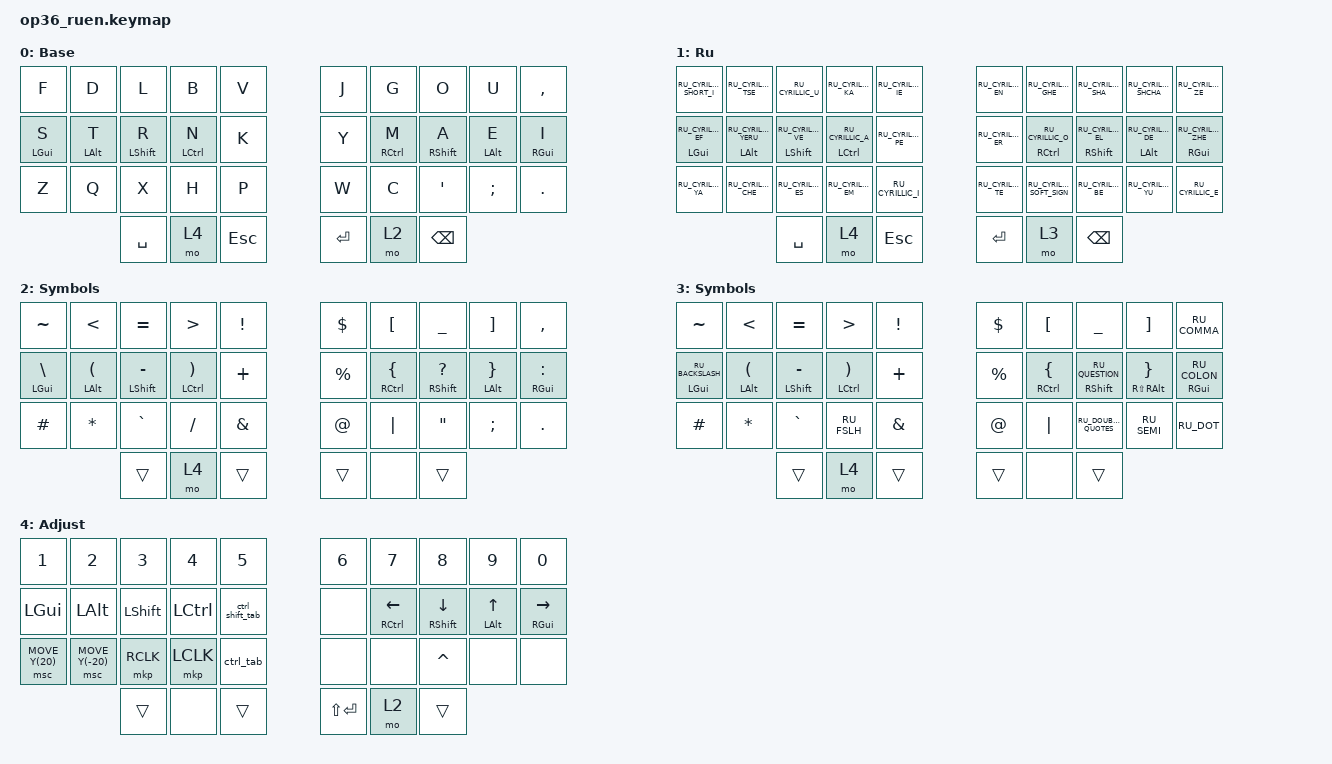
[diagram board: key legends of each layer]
#include "keys_ru.h"
#include "keys_ru.h"
#include <dt-bindings/zmk/reset.h>
#include <behaviors.dtsi>
#include <dt-bindings/zmk/keys.h>
#include <dt-bindings/zmk/pointing.h>

&mt {
    quick-tap-ms = <200>;
    flavor = "tap-preferred";
    require-prior-idle-ms = <125>;
};

/ {
    behaviors {
        hml: home_row_mod_left {
            compatible = "zmk,behavior-hold-tap";
            #binding-cells = <2>;
            flavor = "tap-preferred";
            tapping-term-ms = <250>;
            quick-tap-ms = <175>;
            bindings = <&kp>, <&kp>;

            hold-trigger-key-positions = <5 6 7 8 9 15 16 17 18 19 25 26 27 28 29 33 34 35>;
            hold-trigger-on-release;
            require-prior-idle-ms = <150>;
        };

        hmr: home_row_mod_right {
            compatible = "zmk,behavior-hold-tap";
            #binding-cells = <2>;
            flavor = "tap-preferred";
            tapping-term-ms = <250>;
            quick-tap-ms = <175>;
            bindings = <&kp>, <&kp>;

            hold-trigger-key-positions = <0 1 2 3 4 10 11 12 13 14 20 21 22 23 24 30 31 32>;
            hold-trigger-on-release;
            require-prior-idle-ms = <150>;
        };

        hmr_150_left: hmr_150_left {
            compatible = "zmk,behavior-hold-tap";
            #binding-cells = <2>;
            flavor = "tap-preferred";
            tapping-term-ms = <175>;
            quick-tap-ms = <175>;
            bindings = <&kp>, <&kp>;

            hold-trigger-key-positions = <5 6 7 8 9 15 16 17 18 19 25 26 27 28 29 33 34 35>;
            hold-trigger-on-release;
            label = "HMR_150_LEFT";
            require-prior-idle-ms = <5>;
        };

        hmr_150_right: hmr_150_right {
            compatible = "zmk,behavior-hold-tap";
            #binding-cells = <2>;
            flavor = "tap-preferred";
            tapping-term-ms = <175>;
            quick-tap-ms = <175>;
            bindings = <&kp>, <&kp>;

            hold-trigger-key-positions = <0 1 2 3 4 10 11 12 13 14 20 21 22 23 24 30 31 32>;
            hold-trigger-on-release;
            label = "HMR_150_RIGHT";
            require-prior-idle-ms = <5>;
        };
    };

    combos {
        compatible = "zmk,combos";

        kha {
            bindings = <&kp RU_CYRILLIC_HA>;
            key-positions = <6 7>;
            layers = <1>;
        };

        hrdsgn {
            bindings = <&kp RU_CYRILLIC_HARD_SIGN>;
            key-positions = <7 8>;
            layers = <1>;
        };

        cmben {
            bindings = <&layer_en>;
            key-positions = <27 26>;
            layers = <1>;
            require-prior-idle-ms = <20>;
        };

        cmbru {
            bindings = <&layer_ru>;
            key-positions = <26 27>;
            layers = <0>;
            require-prior-idle-ms = <20>;
        };

        ru_io {
            bindings = <&kp RU_CYRILLIC_IO>;
            key-positions = <3 4>;
            layers = <1>;
        };

        tab {
            bindings = <&kp TAB>;
            key-positions = <16 15>;
            layers = <1 0 2 3 4>;
            require-prior-idle-ms = <20>;
        };

        paste {
            bindings = <&kp LA(LC(NUMBER_9))>;
            key-positions = <22 23>;
            layers = <0 1 2 3 4>;
            require-prior-idle-ms = <20>;
        };

        copy {
            bindings = <&kp RC(RA(NUMBER_8))>;
            key-positions = <22 21>;
            require-prior-idle-ms = <20>;
            layers = <1 2 0 3 4>;
        };

        ca {
            bindings = <&kp CAPSLOCK>;
            key-positions = <29 19 28>;
        };

        vim_a {
            bindings = <&kp A>;
            key-positions = <34 33 35>;
            layers = <1>;
        };
    };

    macros {
        to_ru: to_ru {
            compatible = "zmk,behavior-macro";
            #binding-cells = <0>;
            bindings = <&kp CLCK>;
            label = "TO_RU";
            wait-ms = <0>;
            tap-ms = <30>;
        };

        to_en: to_en {
            compatible = "zmk,behavior-macro";
            #binding-cells = <0>;
            bindings = <&kp CLCK>;
            label = "TO_EN";
            wait-ms = <0>;
            tap-ms = <30>;
        };

        layer_en: layer_en {
            compatible = "zmk,behavior-macro";
            #binding-cells = <0>;
            bindings = <&to 0 &to_en>;
            label = "LAYER_EN";
            wait-ms = <0>;
            tap-ms = <30>;
        };

        layer_ru: layer_ru {
            compatible = "zmk,behavior-macro";
            #binding-cells = <0>;
            bindings = <&to 1 &to_ru>;
            label = "LAYER_RU";
            tap-ms = <30>;
            wait-ms = <0>;
        };

        en: en {
            compatible = "zmk,behavior-macro-one-param";
            #binding-cells = <1>;
            bindings =
                <&to_en>,
                <&macro_press>,
                <&macro_param_1to1 &kp MACRO_PLACEHOLDER>,
                <&macro_pause_for_release>,
                <&macro_release>,
                <&macro_param_1to1 &kp MACRO_PLACEHOLDER>,
                <&macro_tap>,
                <&to_ru>;

            label = "EN";
            wait-ms = <0>;
            tap-ms = <30>;
        };

        ctrl_tab: ctrl_tab {
            compatible = "zmk,behavior-macro";
            #binding-cells = <0>;
            bindings = <&kp LC(TAB)>;
            label = "CTRL_TAB";
        };

        ctrl_shift_tab: ctrl_shift_tab {
            compatible = "zmk,behavior-macro";
            #binding-cells = <0>;
            bindings = <&kp RC(RS(TAB))>;
            label = "CTRL_SHIFT_TAB";
        };
    };

    keymap {
        compatible = "zmk,keymap";

        en {
            bindings = <
  &kp F        &kp D        &kp L                  &kp B                  &kp V                        &kp J  &kp G                   &kp O                   &kp U        &kp COMMA
  &hml LGUI S  &hml LALT T  &hmr_150_left LSHFT R  &hmr_150_left LCTRL N  &kp K                        &kp Y  &hmr_150_right RCTRL M  &hmr_150_right RSHFT A  &hmr LALT E  &hmr RGUI I
  &kp Z        &kp Q        &kp X                  &kp H                  &kp P                        &kp W  &kp C                   &kp SQT                 &kp SEMI     &kp DOT
                                                   &kp SPACE              &mo 4  &kp ESC    &kp ENTER  &mo 2  &kp BACKSPACE
            >;

            display-name = "Base";
        };

        ru {
            bindings = <
  &kp RU_CYRILLIC_SHORT_I   &kp RU_CYRILLIC_TSE         &kp RU_CYRILLIC_U                   &kp RU_CYRILLIC_KA                 &kp RU_CYRILLIC_IE                        &kp RU_CYRILLIC_EN  &kp RU_CYRILLIC_GHE                 &kp RU_CYRILLIC_SHA                  &kp RU_CYRILLIC_SHCHA     &kp RU_CYRILLIC_ZE
  &hml LGUI RU_CYRILLIC_EF  &hml LALT RU_CYRILLIC_YERU  &hmr_150_left LSHFT RU_CYRILLIC_VE  &hmr_150_left LCTRL RU_CYRILLIC_A  &kp RU_CYRILLIC_PE                        &kp RU_CYRILLIC_ER  &hmr_150_right RCTRL RU_CYRILLIC_O  &hmr_150_right RSHFT RU_CYRILLIC_EL  &hmr LALT RU_CYRILLIC_DE  &hmr RGUI RU_CYRILLIC_ZHE
  &kp RU_CYRILLIC_YA        &kp RU_CYRILLIC_CHE         &kp RU_CYRILLIC_ES                  &kp RU_CYRILLIC_EM                 &kp RU_CYRILLIC_I                         &kp RU_CYRILLIC_TE  &kp RU_CYRILLIC_SOFT_SIGN           &kp RU_CYRILLIC_BE                   &kp RU_CYRILLIC_YU        &kp RU_CYRILLIC_E
                                                                                            &kp SPACE                          &mo 4               &kp ESC    &kp ENTER  &mo 3               &kp BACKSPACE
            >;

            display-name = "Ru";
        };

        sym_en {
            bindings = <
  &kp TILDE       &kp LT          &kp EQUAL                  &kp GT                    &kp EXCLAMATION                    &kp DOLLAR  &kp LBKT                   &kp UNDER                      &kp RBKT        &kp COMMA
  &hml LGUI BSLH  &hml LALT LPAR  &hmr_150_left LSHFT MINUS  &hmr_150_left LCTRL RPAR  &kp PLUS                           &kp PRCNT   &hmr_150_right RCTRL LBRC  &hmr_150_right RSHFT QUESTION  &hmr LALT RBRC  &hmr RGUI COLON
  &kp HASH        &kp STAR        &kp GRAVE                  &kp FSLH                  &kp AMPS                           &kp AT      &kp PIPE                   &kp DOUBLE_QUOTES              &kp SEMI        &kp DOT
                                                             &trans                    &mo 4            &trans    &trans  &none       &trans
            >;

            display-name = "Symbols";
        };

        sym_ru {
            bindings = <
  &kp TILDE               &kp LT          &kp EQUAL                  &kp GT                    &kp EXCLAMATION                    &kp DOLLAR  &kp LBKT                   &kp UNDER                         &kp RBKT                 &kp RU_COMMA
  &hml LGUI RU_BACKSLASH  &hml LALT LPAR  &hmr_150_left LSHFT MINUS  &hmr_150_left LCTRL RPAR  &kp PLUS                           &kp PRCNT   &hmr_150_right RCTRL LBRC  &hmr_150_right RSHFT RU_QUESTION  &hmr RS(RIGHT_ALT) RBRC  &hmr RGUI RU_COLON
  &kp HASH                &kp STAR        &kp GRAVE                  &kp RU_FSLH               &kp AMPS                           &kp AT      &kp PIPE                   &kp RU_DOUBLE_QUOTES              &kp RU_SEMI              &kp RU_DOT
                                                                     &trans                    &mo 4            &trans    &trans  &none       &trans
            >;

            display-name = "Symbols";
        };

        nav {
            bindings = <
  &kp N1           &kp N2            &kp N3     &kp N4     &kp N5                                    &kp N6  &kp N7           &kp N8           &kp N9        &kp N0
  &kp LGUI         &kp LALT          &kp LSHFT  &kp LCTRL  &ctrl_shift_tab                           &none   &hmr RCTRL LEFT  &hmr RSHFT DOWN  &hmr LALT UP  &hmr RGUI RIGHT
  &msc MOVE_Y(20)  &msc MOVE_Y(-20)  &mkp RCLK  &mkp LCLK  &ctrl_tab                                 &none   &none            &kp CARET        &none         &none
                                                &trans     &none            &trans    &kp LS(ENTER)  &mo 2   &trans
            >;

            display-name = "Adjust";
        };
    };
};
